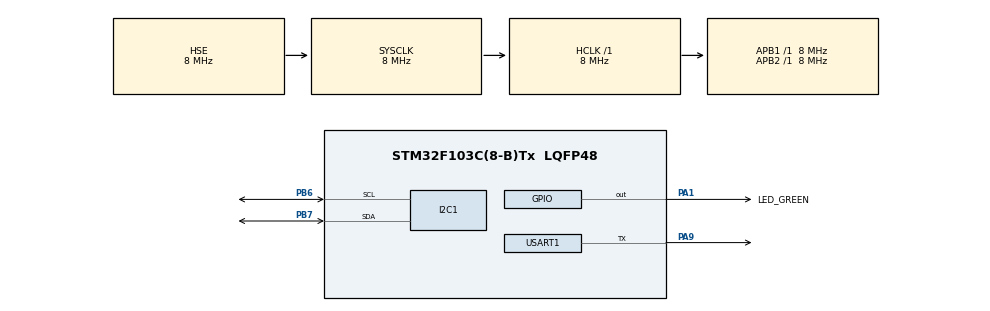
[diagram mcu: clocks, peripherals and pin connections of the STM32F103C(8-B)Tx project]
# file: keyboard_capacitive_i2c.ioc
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Mcu.Family=STM32F1
Mcu.Name=STM32F103C(8-B)Tx
Mcu.Package=LQFP48
NVIC.PriorityGroup=NVIC_PRIORITYGROUP_4
PA1.GPIO_Label=LED_GREEN
PA1.Signal=GPIO_Output
PA13.Mode=Serial_Wire
PA13.Signal=SYS_JTMS-SWDIO
PA14.Mode=Serial_Wire
PA14.Signal=SYS_JTCK-SWCLK
PA9.Mode=Half_duplex(single_wire_mode)
PA9.Signal=USART1_TX
PB6.Mode=I2C
PB6.Signal=I2C1_SCL
PB7.Mode=I2C
PB7.Signal=I2C1_SDA
PD0-OSC_IN.Mode=HSE-External-Oscillator
PD0-OSC_IN.Signal=RCC_OSC_IN
PD1-OSC_OUT.Mode=HSE-External-Oscillator
PD1-OSC_OUT.Signal=RCC_OSC_OUT
ProjectManager.HeapSize=0x200
ProjectManager.StackSize=0x400
ProjectManager.TargetToolchain=SW4STM32
RCC.AHBFreq_Value=8000000
RCC.APB1Freq_Value=8000000
RCC.APB1TimFreq_Value=8000000
RCC.APB2Freq_Value=8000000
RCC.APB2TimFreq_Value=8000000
RCC.HCLKFreq_Value=8000000
RCC.PLLSourceVirtual=RCC_PLLSOURCE_HSE
RCC.SYSCLKFreq_VALUE=8000000
RCC.SYSCLKSource=RCC_SYSCLKSOURCE_HSE
RCC.USBFreq_Value=16000000
USART1.BaudRate=38400
USART1.Mode=MODE_TX
USART1.VirtualMode=VM_ASYNC
board=custom

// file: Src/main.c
/**
  ******************************************************************************
  * @file           : main.c
  * @brief          : Main program body
  ******************************************************************************
  ** This notice applies to any and all portions of this file
  * that are not between comment pairs USER CODE BEGIN and
  * USER CODE END. Other portions of this file, whether
  * inserted by the user or by software development tools
  * are owned by their respective copyright owners.
  *
  * COPYRIGHT(c) 2018 STMicroelectronics
  *
  * Redistribution and use in source and binary forms, with or without modification,
  * are permitted provided that the following conditions are met:
  *   1. Redistributions of source code must retain the above copyright notice,
  *      this list of conditions and the following disclaimer.
  *   2. Redistributions in binary form must reproduce the above copyright notice,
  *      this list of conditions and the following disclaimer in the documentation
  *      and/or other materials provided with the distribution.
  *   3. Neither the name of STMicroelectronics nor the names of its contributors
  *      may be used to endorse or promote products derived from this software
  *      without specific prior written permission.
  *
  * THIS SOFTWARE IS PROVIDED BY THE COPYRIGHT HOLDERS AND CONTRIBUTORS "AS IS"
  * AND ANY EXPRESS OR IMPLIED WARRANTIES, INCLUDING, BUT NOT LIMITED TO, THE
  * IMPLIED WARRANTIES OF MERCHANTABILITY AND FITNESS FOR A PARTICULAR PURPOSE ARE
  * DISCLAIMED. IN NO EVENT SHALL THE COPYRIGHT HOLDER OR CONTRIBUTORS BE LIABLE
  * FOR ANY DIRECT, INDIRECT, INCIDENTAL, SPECIAL, EXEMPLARY, OR CONSEQUENTIAL
  * DAMAGES (INCLUDING, BUT NOT LIMITED TO, PROCUREMENT OF SUBSTITUTE GOODS OR
  * SERVICES; LOSS OF USE, DATA, OR PROFITS; OR BUSINESS INTERRUPTION) HOWEVER
  * CAUSED AND ON ANY THEORY OF LIABILITY, WHETHER IN CONTRACT, STRICT LIABILITY,
  * OR TORT (INCLUDING NEGLIGENCE OR OTHERWISE) ARISING IN ANY WAY OUT OF THE USE
  * OF THIS SOFTWARE, EVEN IF ADVISED OF THE POSSIBILITY OF SUCH DAMAGE.
  *
  ******************************************************************************
  */
#include "main.h"
#include "stm32f1xx_hal.h"
#include "i2c.h"
#include "usart.h"
#include "gpio.h"

/* USER CODE BEGIN Includes */

	#include <string.h>
	#include "lcd1602_fc113_sm.h"
	#define ADR_I2C_FC113 0x27

/* USER CODE END Includes */

/* USER CODE BEGIN PV */
/* Private variables ---------------------------------------------------------*/

/* USER CODE END PV */

void SystemClock_Config(void);

/* USER CODE BEGIN PFP */
/* Private function prototypes -----------------------------------------------*/

/* USER CODE END PFP */

int main(void)
{
  /* USER CODE BEGIN 1 */

	char DataChar[100];
	int uptime = 0;
	int SizeChar;

  /* USER CODE END 1 */

  /* MCU Configuration----------------------------------------------------------*/

  /* Reset of all peripherals, Initializes the Flash interface and the Systick. */
  HAL_Init();

  /* Configure the system clock */
  SystemClock_Config();

  /* Initialize all configured peripherals */
  MX_GPIO_Init();
  MX_USART1_UART_Init();
  MX_I2C1_Init();
  /* USER CODE BEGIN 2 */

	sprintf(DataChar,"\r\n\r\nUART1 for debug Start\r\n");
	HAL_UART_Transmit(&huart1, (uint8_t *)DataChar, strlen(DataChar), 100);

	sprintf(DataChar,"TX only; port PA9; speed 38`400\r\n");
	HAL_UART_Transmit(&huart1, (uint8_t *)DataChar, strlen(DataChar), 100);

	sprintf(DataChar,"I2C added\r\n");
	HAL_UART_Transmit(&huart1, (uint8_t *)DataChar, strlen(DataChar), 100);

	lcd1602_fc113_struct h1_lcd1602_fc113 =
	{
		.i2c = &hi2c1,
		.device_i2c_address = ADR_I2C_FC113
	};

	LCD1602_Init(&h1_lcd1602_fc113);
	I2C_ScanBus(&h1_lcd1602_fc113);

	LCD1602_Clear(&h1_lcd1602_fc113);
	sprintf(DataChar,"LCD1602 Started");
	SizeChar = strlen(DataChar);
	LCD1602_Print_Line(&h1_lcd1602_fc113, DataChar, SizeChar);

  /* USER CODE END 2 */

  /* Infinite loop */
  /* USER CODE BEGIN WHILE */
  while (1)
  {
	 HAL_GPIO_TogglePin(LED_GREEN_GPIO_Port,LED_GREEN_Pin);
	 HAL_Delay(1200);

	uptime++;
	sprintf(DataChar,"uptime: %d\r\n", uptime);
	HAL_UART_Transmit(&huart1, (uint8_t *)DataChar, strlen(DataChar), 100);

	SizeChar = strlen(DataChar);
	LCD1602_Clear(&h1_lcd1602_fc113);
	LCD1602_Print_Line(&h1_lcd1602_fc113, DataChar, SizeChar);

  /* USER CODE END WHILE */

  }

}

void SystemClock_Config(void)
{

  RCC_OscInitTypeDef RCC_OscInitStruct;
  RCC_ClkInitTypeDef RCC_ClkInitStruct;

    /**Initializes the CPU, AHB and APB busses clocks
    */
  RCC_OscInitStruct.OscillatorType = RCC_OSCILLATORTYPE_HSE;
  RCC_OscInitStruct.HSEState = RCC_HSE_ON;
  RCC_OscInitStruct.PLL.PLLState = RCC_PLL_NONE;
  if (HAL_RCC_OscConfig(&RCC_OscInitStruct) != HAL_OK)
  {
    _Error_Handler(__FILE__, __LINE__);
  }

    /**Initializes the CPU, AHB and APB busses clocks
    */
  RCC_ClkInitStruct.ClockType = RCC_CLOCKTYPE_HCLK|RCC_CLOCKTYPE_SYSCLK
                              |RCC_CLOCKTYPE_PCLK1|RCC_CLOCKTYPE_PCLK2;
  RCC_ClkInitStruct.SYSCLKSource = RCC_SYSCLKSOURCE_HSE;
  RCC_ClkInitStruct.AHBCLKDivider = RCC_SYSCLK_DIV1;
  RCC_ClkInitStruct.APB1CLKDivider = RCC_HCLK_DIV1;
  RCC_ClkInitStruct.APB2CLKDivider = RCC_HCLK_DIV1;

  if (HAL_RCC_ClockConfig(&RCC_ClkInitStruct, FLASH_LATENCY_0) != HAL_OK)
  {
    _Error_Handler(__FILE__, __LINE__);
  }

    /**Configure the Systick interrupt time
    */
  HAL_SYSTICK_Config(HAL_RCC_GetHCLKFreq()/1000);

    /**Configure the Systick
    */
  HAL_SYSTICK_CLKSourceConfig(SYSTICK_CLKSOURCE_HCLK);

  /* SysTick_IRQn interrupt configuration */
  HAL_NVIC_SetPriority(SysTick_IRQn, 0, 0);
}

void _Error_Handler(char *file, int line)
{
  while(1)
  {
  }
}

/************************ (C) COPYRIGHT STMicroelectronics *****END OF FILE****/
